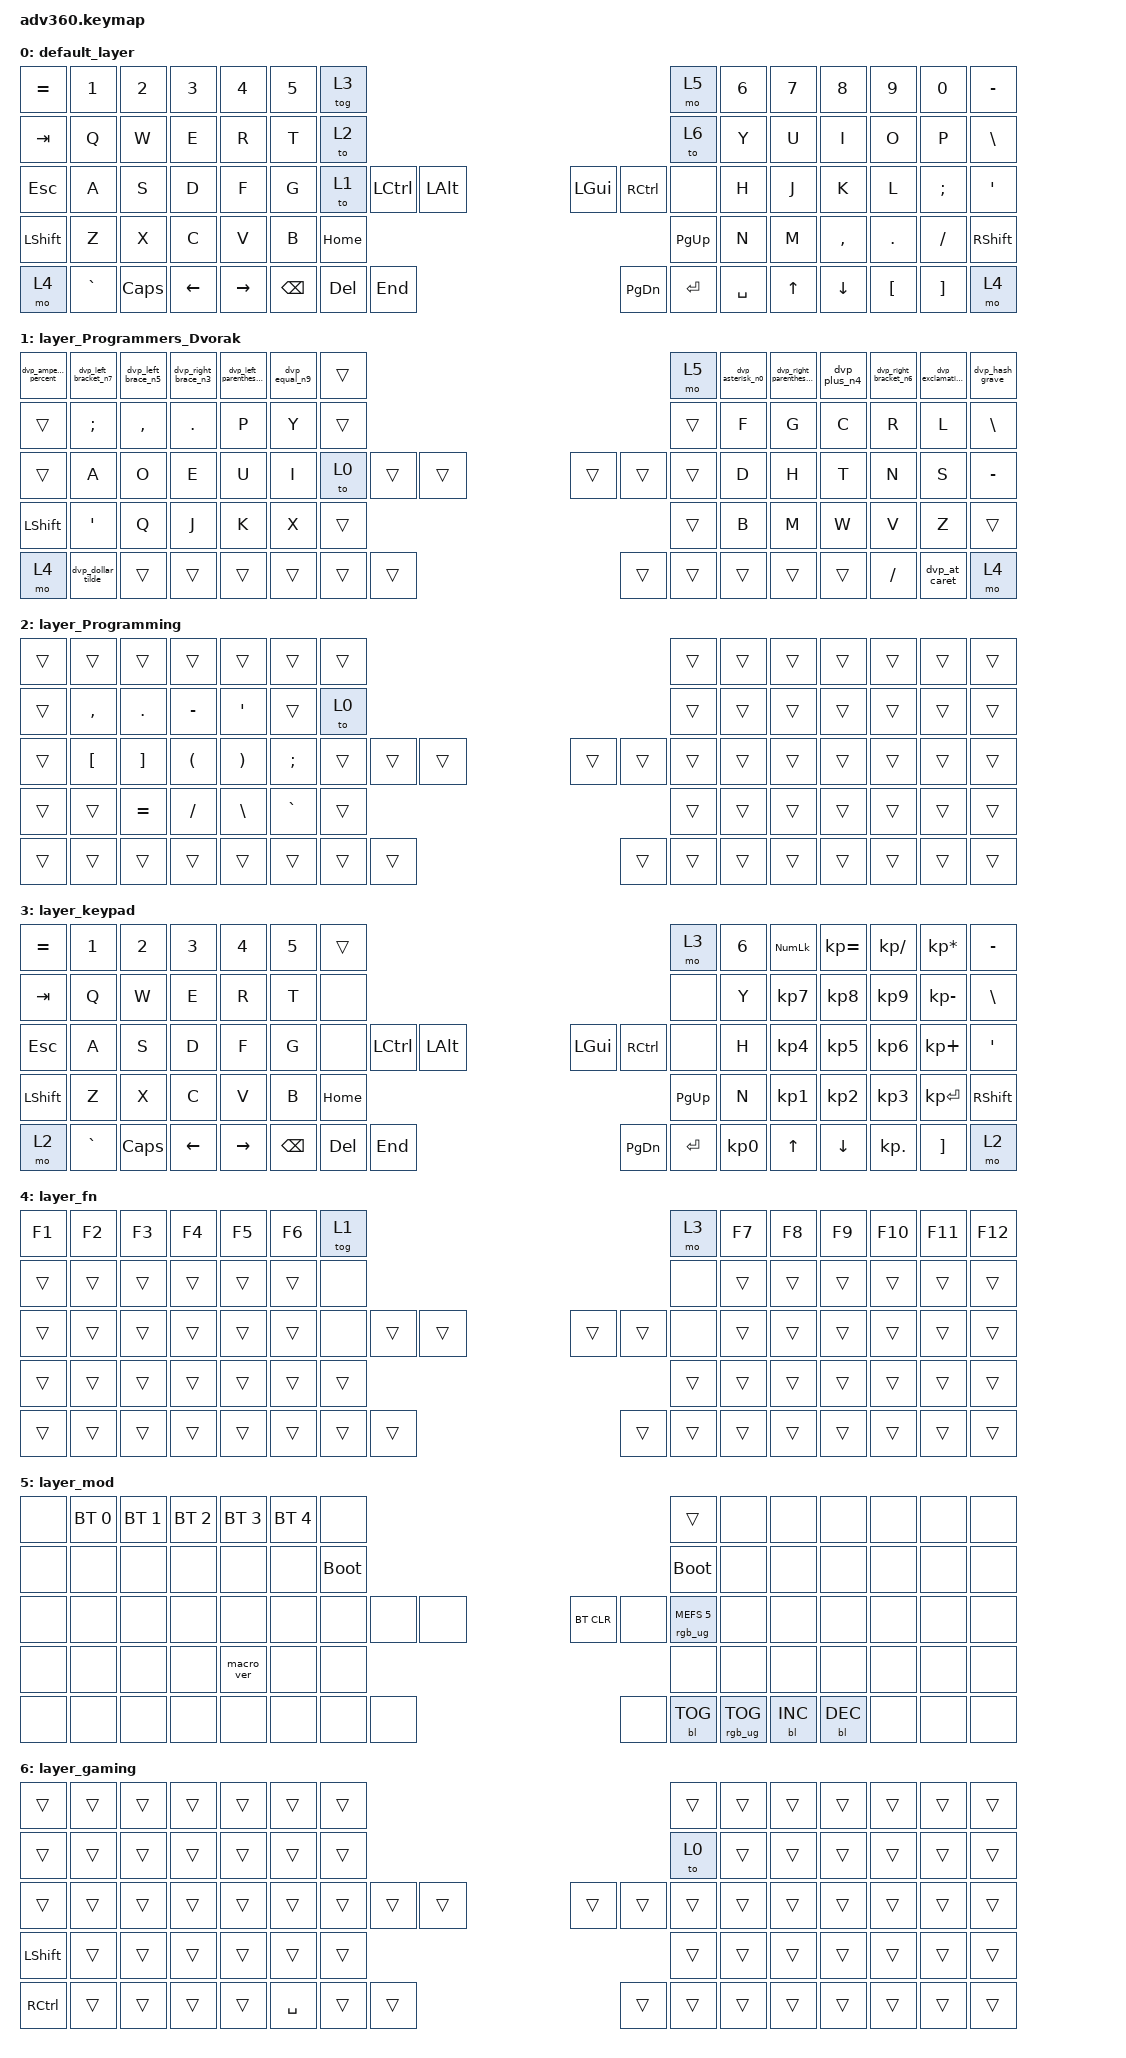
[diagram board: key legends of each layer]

/*
 * Copyright (c) 2020 The ZMK Contributors
 *
 * SPDX-License-Identifier: MIT
 */


/* THIS FILE WAS GENERATED!
 *
 * This file was generated automatically. You may or may not want to
 * edit it directly.
 */

#include <behaviors.dtsi>
#include <dt-bindings/zmk/keys.h>
#include <dt-bindings/zmk/bt.h>
#include <dt-bindings/zmk/rgb.h>
#include <dt-bindings/zmk/backlight.h>

/ {
  behaviors {
    #include "macros.dtsi"
    #include "version.dtsi"

    hm: homerow_mods {
        compatible = "zmk,behavior-hold-tap";
        label = "HOMEROW_MODS";
        #binding-cells = <2>;
        tapping-term-ms = <200>;
        quick_tap_ms = <175>;
        flavor = "tap-preferred";
        bindings = <&kp>, <&kp>;
    };
  };

    keymap {
        compatible = "zmk,keymap";


        default_layer {
            bindings = <
 &kp EQUAL     &kp N1    &kp N2    &kp N3     &kp N4  &kp N5              &tog 3                                                                 &mo 5  &kp N6  &kp N7     &kp N8    &kp N9    &kp N0  &kp MINUS
   &kp TAB      &kp Q     &kp W     &kp E      &kp R   &kp T               &to 2                                                                 &to 6   &kp Y   &kp U      &kp I     &kp O     &kp P   &kp BSLH
   &kp ESC      &kp A     &kp S     &kp D      &kp F   &kp G               &to 1  &kp LCTRL  &kp LALT                   &kp LGUI  &kp RCTRL      &none   &kp H   &kp J      &kp K     &kp L  &kp SEMI    &kp SQT
 &kp LSHFT      &kp Z     &kp X     &kp C      &kp V   &kp B                                 &kp HOME                  &kp PG_UP                         &kp N   &kp M  &kp COMMA   &kp DOT  &kp FSLH  &kp RSHFT
     &mo 4  &kp GRAVE  &kp CAPS  &kp LEFT  &kp RIGHT                    &kp BSPC    &kp DEL   &kp END                  &kp PG_DN  &kp ENTER  &kp SPACE          &kp UP   &kp DOWN  &kp LBKT  &kp RBKT      &mo 4
            >;
        };

        layer_Programmers_Dvorak {
            bindings = <
 &dvp_ampersand_percent  &dvp_left_bracket_n7  &dvp_left_brace_n5  &dvp_right_brace_n3  &dvp_left_parenthesis_n1  &dvp_equal_n9            &trans                                                   &mo 5  &dvp_asterisk_n0  &dvp_right_parenthesis_n2  &dvp_plus_n4  &dvp_right_bracket_n6  &dvp_exclamation_n8  &dvp_hash_grave
                 &trans         &kp SEMICOLON           &kp COMMA              &kp DOT                     &kp P          &kp Y            &trans                                                  &trans             &kp F                      &kp G         &kp C                  &kp R                &kp L    &kp BACKSLASH
                 &trans                 &kp A               &kp O                &kp E                     &kp U          &kp I             &to 0  &trans  &trans                  &trans  &trans  &trans             &kp D                      &kp H         &kp T                  &kp N                &kp S        &kp MINUS
         &kp LEFT_SHIFT               &kp SQT               &kp Q                &kp J                     &kp K          &kp X                            &trans                  &trans                             &kp B                      &kp M         &kp W                  &kp V                &kp Z           &trans
                  &mo 4     &dvp_dollar_tilde              &trans               &trans                    &trans                           &trans  &trans  &trans                  &trans  &trans  &trans                                       &trans        &trans              &kp SLASH        &dvp_at_caret            &mo 4
            >;
        };

        layer_Programming {
            bindings = <
 &trans     &trans     &trans                &trans                 &trans     &trans            &trans                                                  &trans  &trans  &trans  &trans  &trans  &trans  &trans
 &trans  &kp COMMA    &kp DOT             &kp MINUS                &kp SQT     &trans             &to 0                                                  &trans  &trans  &trans  &trans  &trans  &trans  &trans
 &trans   &kp LBKT   &kp RBKT  &kp LEFT_PARENTHESIS  &kp RIGHT_PARENTHESIS   &kp SEMI            &trans  &trans  &trans                  &trans  &trans  &trans  &trans  &trans  &trans  &trans  &trans  &trans
 &trans     &trans  &kp EQUAL             &kp SLASH          &kp BACKSLASH  &kp GRAVE                            &trans                  &trans                  &trans  &trans  &trans  &trans  &trans  &trans
 &trans     &trans     &trans                &trans                 &trans                       &trans  &trans  &trans                  &trans  &trans  &trans          &trans  &trans  &trans  &trans  &trans
            >;
        };

        layer_keypad {
            bindings = <
 &kp EQUAL     &kp N1    &kp N2    &kp N3     &kp N4  &kp N5              &trans                                                                 &mo 3  &kp N6  &kp KP_NUM  &kp KP_EQUAL  &kp KP_DIVIDE  &kp KP_MULTIPLY  &kp MINUS
   &kp TAB      &kp Q     &kp W     &kp E      &kp R   &kp T               &none                                                                 &none   &kp Y   &kp KP_N7     &kp KP_N8      &kp KP_N9     &kp KP_MINUS   &kp BSLH
   &kp ESC      &kp A     &kp S     &kp D      &kp F   &kp G               &none  &kp LCTRL  &kp LALT                   &kp LGUI  &kp RCTRL      &none   &kp H   &kp KP_N4     &kp KP_N5      &kp KP_N6      &kp KP_PLUS    &kp SQT
 &kp LSHFT      &kp Z     &kp X     &kp C      &kp V   &kp B                                 &kp HOME                  &kp PG_UP                         &kp N   &kp KP_N1     &kp KP_N2      &kp KP_N3     &kp KP_ENTER  &kp RSHFT
     &mo 2  &kp GRAVE  &kp CAPS  &kp LEFT  &kp RIGHT                    &kp BSPC    &kp DEL   &kp END                  &kp PG_DN  &kp ENTER  &kp KP_N0              &kp UP      &kp DOWN     &kp KP_DOT         &kp RBKT      &mo 2
            >;
        };

        layer_fn {
            bindings = <
 &kp F1  &kp F2  &kp F3  &kp F4  &kp F5  &kp F6            &tog 1                                                   &mo 3  &kp F7  &kp F8  &kp F9  &kp F10  &kp F11  &kp F12
 &trans  &trans  &trans  &trans  &trans  &trans             &none                                                   &none  &trans  &trans  &trans   &trans   &trans   &trans
 &trans  &trans  &trans  &trans  &trans  &trans             &none  &trans  &trans                  &trans  &trans   &none  &trans  &trans  &trans   &trans   &trans   &trans
 &trans  &trans  &trans  &trans  &trans  &trans                            &trans                  &trans                  &trans  &trans  &trans   &trans   &trans   &trans
 &trans  &trans  &trans  &trans  &trans                    &trans  &trans  &trans                  &trans  &trans  &trans          &trans  &trans   &trans   &trans   &trans
            >;
        };

        layer_mod {
            bindings = <
  &none  &bt BT_SEL 0  &bt BT_SEL 1  &bt BT_SEL 2  &bt BT_SEL 3  &bt BT_SEL 4                  &none                                                                          &trans   &none       &none       &none   &none   &none   &none
  &none         &none         &none         &none         &none         &none            &bootloader                                                                     &bootloader   &none       &none       &none   &none   &none   &none
  &none         &none         &none         &none         &none         &none                  &none   &none   &none                  &bt BT_CLR       &none  &rgb_ug RGB_MEFS_CMD 5   &none       &none       &none   &none   &none   &none
  &none         &none         &none         &none    &macro_ver         &none                                  &none                       &none                                       &none       &none       &none   &none   &none   &none
  &none         &none         &none         &none         &none                                &none   &none   &none                       &none  &bl BL_TOG         &rgb_ug RGB_TOG          &bl BL_INC  &bl BL_DEC   &none   &none   &none
            >;
        };

        layer_gaming {
            bindings = <
         &trans  &trans  &trans  &trans  &trans  &trans               &trans                                                  &trans  &trans  &trans  &trans  &trans  &trans  &trans
         &trans  &trans  &trans  &trans  &trans  &trans               &trans                                                   &to 0  &trans  &trans  &trans  &trans  &trans  &trans
         &trans  &trans  &trans  &trans  &trans  &trans               &trans  &trans  &trans                  &trans  &trans  &trans  &trans  &trans  &trans  &trans  &trans  &trans
 &kp LEFT_SHIFT  &trans  &trans  &trans  &trans  &trans                               &trans                  &trans                  &trans  &trans  &trans  &trans  &trans  &trans
      &kp RCTRL  &trans  &trans  &trans  &trans                    &kp SPACE  &trans  &trans                  &trans  &trans  &trans          &trans  &trans  &trans  &trans  &trans
            >;
        };

    };
};
